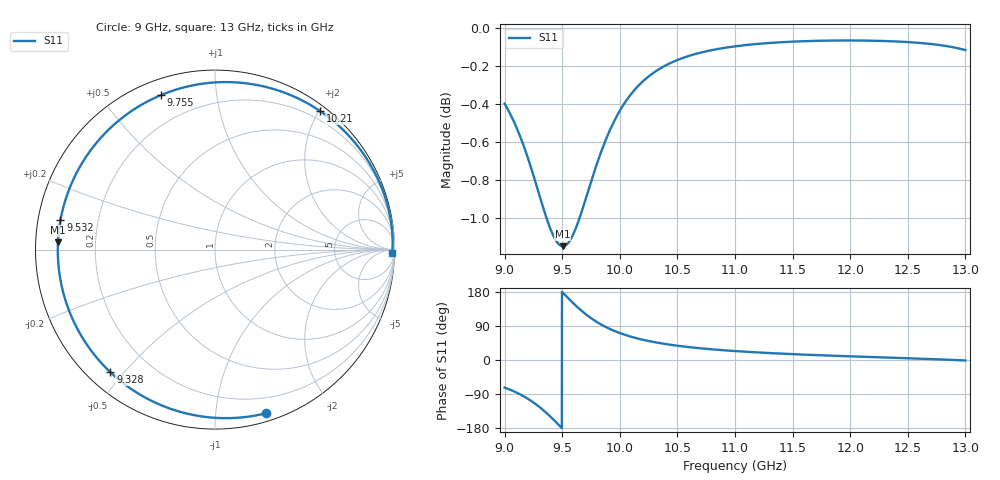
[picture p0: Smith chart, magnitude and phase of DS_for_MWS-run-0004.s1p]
! TOUCHSTONE file generated by CST DESIGN STUDIO
! Date and time: Wed Feb  5 13:39:09 2025
! Project name: C:\Work\MatlabApps\UnitCellOptimizationMatlab\CST\unitcell.cst
! Tree item: Tasks\Sweep1\SPara1\S-Parameters
! Header version: 2024
! Port assignment regex: !\s*Touchstone port\s*([0-9]+)\s*=\s*(CST MWS port|CST DES external port|CST DES block port)\s*(.+)\s* \(\"(.*)\"\)(\s*mode\s*([0-9]+))?.*
! Touchstone port assignment:
! Touchstone port 1 = CST DES external port 1 ("")
# GHz S MA R 50
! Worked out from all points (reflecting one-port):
!   4001 points, 9 GHz to 13 GHz, reference 50 ohm
!   lowest |S11| = -1.2 dB at 9.506 GHz (marker M1), VSWR 15.12, Z = 3.31 + j1.14 ohm
!   phase of S11 starts at -73 deg and turns -289 deg over the sweep
!   S11 on the Smith chart (normalised r, x): 9 GHz: 0.07, -1.36; 9.328 GHz: 0.07, -0.46; 9.532 GHz: 0.07, +0.09; 9.755 GHz: 0.07, +0.71; 10.21 GHz: 0.08, +2.01; 13 GHz: 40, -67
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9  0.9552 -72.8
9.087  0.9439 -83.6
9.189  0.9267 -100.0
9.261  0.9122 -114.5
9.328  0.8981 -130.4
9.374  0.8892 -142.8
9.422  0.8816 -156.7
9.462  0.8775 -168.9
9.5  0.876 179.3
9.506  0.8759 177.4
9.532  0.8765 169.3
9.586  0.881 152.8
9.647  0.8904 135.5
9.7  0.9007 121.9
9.755  0.9118 109.4
9.805  0.9216 99.5
9.86  0.9315 90.0
10  0.9511 71.1
10.099  0.9609 61.3
10.209  0.9688 52.8
10.343  0.9756 44.8
10.5  0.9809 37.7
10.722  0.9857 30.2
11  0.9891 23.6
11.5  0.992 15.5
12  0.9927 9.7
12.5  0.9917 4.6
13  0.9869 -1.3
